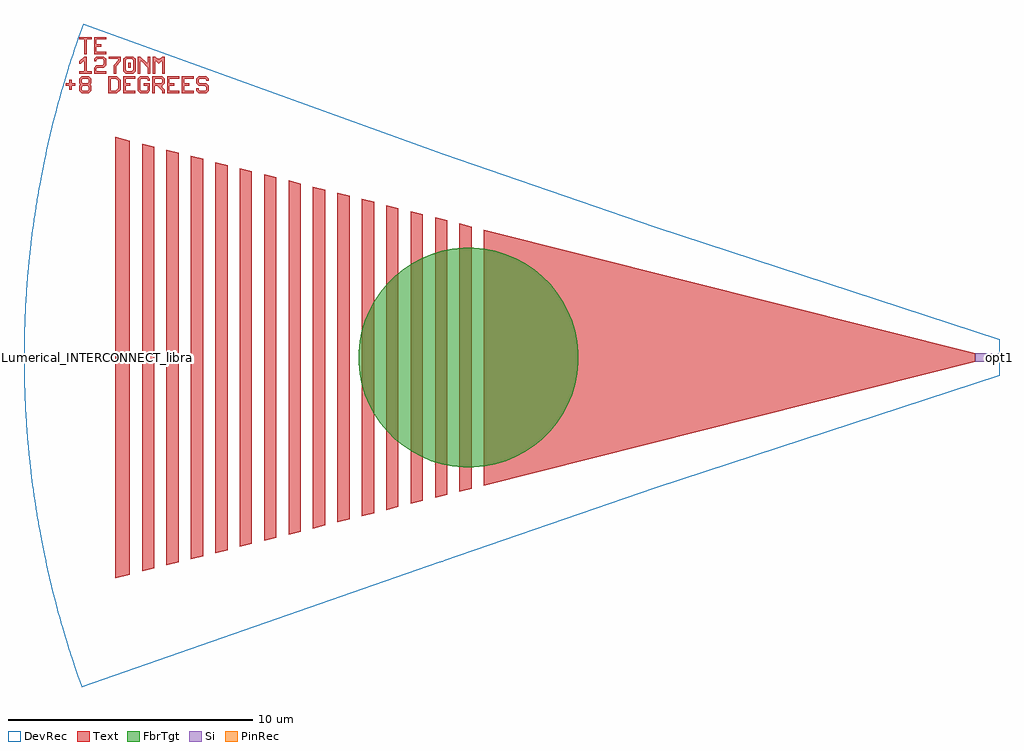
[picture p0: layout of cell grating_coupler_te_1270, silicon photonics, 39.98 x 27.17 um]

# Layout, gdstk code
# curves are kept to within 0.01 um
import gdstk
lib = gdstk.Library(unit=1e-6, precision=1e-09)
def R(c, l, rs):  # rectangles x0, y0, x1, y1
    for r in rs: c.add(gdstk.rectangle(r[:2], r[2:], *l))
def P(c, l, *ps):  # polygons
    for p in ps: c.add(gdstk.Polygon(p, *l))
Si = (1, 0)
PinRec = (1, 10)
Text = (10, 0)
DevRec = (68, 0)
FbrTgt = (81, 0)

grating_coupler_te_1270 = lib.new_cell('grating_coupler_te_1270')
R(grating_coupler_te_1270, Si, [(-1,-0.175,0,0.175)])
R(grating_coupler_te_1270, Text, [(-35.7,11.88,-35.6,12.08)])
P(grating_coupler_te_1270, Text, [(-37.5,12.43),(-37.5,13.03),(-37.7,13.03),(-37.7,13.13),(-37.2,13.13),(-37.2,13.03),(-37.4,13.03),(-37.4,12.43)],
  [(-37.1,12.43),(-37.1,13.13),(-36.6,13.13),(-36.6,13.03),(-37,13.03),(-37,12.83),(-36.8,12.83),(-36.8,12.73),(-37,12.73),(-37,12.53),(-36.6,12.53),(-36.6,12.43)],
  [(-37.7,11.63),(-37.7,11.73),(-37.5,11.73),(-37.5,12.13),(-37.55,12.13),(-37.65,12.03),(-37.7,12.03),(-37.7,12.13),(-37.5,12.33),(-37.4,12.33),(-37.4,11.73),(-37.2,11.73),(-37.2,11.63)],
  [(-37.1,11.63),(-37.1,11.88),(-37,11.98),(-36.75,11.98),(-36.7,12.03),(-36.7,12.18),(-36.75,12.23),(-36.95,12.23),(-37,12.18),(-37,12.13),(-37.1,12.13),(-37.1,12.23),(-37,12.33),(-36.7,12.33),(-36.6,12.23),(-36.6,11.98),(-36.7,11.88),(-36.95,11.88),(-37,11.83),(-37,11.73),(-36.6,11.73),(-36.6,11.63)],
  [(-36.3,11.63),(-36.3,11.98),(-36.1,12.18),(-36.1,12.23),(-36.5,12.23),(-36.5,12.33),(-36,12.33),(-36,12.13),(-36.2,11.93),(-36.2,11.63)],
  [(-35.8,11.63),(-35.9,11.73),(-35.9,12.23),(-35.8,12.33),(-35.5,12.33),(-35.4,12.23),(-35.75,12.23),(-35.8,12.18),(-35.8,11.78),(-35.75,11.73),(-35.55,11.73),(-35.5,11.78),(-35.5,12.18),(-35.55,12.23),(-35.4,12.23),(-35.4,11.73),(-35.5,11.63)],
  [(-35.3,11.63),(-35.3,12.33),(-35.2,12.33),(-34.95,12.08),(-34.9,12.08),(-34.9,12.33),(-34.8,12.33),(-34.8,11.63),(-34.9,11.63),(-34.9,11.88),(-35.15,12.13),(-35.2,12.13),(-35.2,11.63)],
  [(-34.7,11.63),(-34.7,12.33),(-34.6,12.33),(-34.5,12.23),(-34.4,12.23),(-34.3,12.33),(-34.2,12.33),(-34.2,11.63),(-34.3,11.63),(-34.3,12.13),(-34.35,12.13),(-34.45,12.03),(-34.55,12.13),(-34.6,12.13),(-34.6,11.63)],
  [(-38.11,10.98),(-38.11,11.13),(-38.26,11.13),(-38.26,11.23),(-38.11,11.23),(-38.11,11.38),(-38.01,11.38),(-38.01,11.23),(-37.86,11.23),(-37.86,11.13),(-38.01,11.13),(-38.01,10.98)],
  [(-37.61,10.83),(-37.71,10.93),(-37.71,11.13),(-37.66,11.18),(-37.71,11.23),(-37.71,11.43),(-37.61,11.53),(-37.31,11.53),(-37.21,11.43),(-37.56,11.43),(-37.61,11.38),(-37.61,11.28),(-37.56,11.23),(-37.36,11.23),(-37.31,11.28),(-37.31,11.38),(-37.36,11.43),(-37.21,11.43),(-37.21,11.23),(-37.26,11.18),(-37.21,11.13),(-37.56,11.13),(-37.61,11.08),(-37.61,10.98),(-37.56,10.93),(-37.36,10.93),(-37.31,10.98),(-37.31,11.08),(-37.36,11.13),(-37.21,11.13),(-37.21,10.93),(-37.31,10.83)],
  [(-36.51,10.83),(-36.51,11.53),(-36.16,11.53),(-36.06,11.43),(-36.41,11.43),(-36.41,10.93),(-36.21,10.93),(-36.11,11.03),(-36.11,11.33),(-36.21,11.43),(-36.06,11.43),(-36.01,11.38),(-36.01,10.98),(-36.16,10.83)],
  [(-35.91,10.83),(-35.91,11.53),(-35.41,11.53),(-35.41,11.43),(-35.81,11.43),(-35.81,11.23),(-35.61,11.23),(-35.61,11.13),(-35.81,11.13),(-35.81,10.93),(-35.41,10.93),(-35.41,10.83)],
  [(-35.21,10.83),(-35.31,10.93),(-35.31,11.43),(-35.21,11.53),(-34.91,11.53),(-34.81,11.43),(-34.81,11.33),(-34.91,11.33),(-34.91,11.38),(-34.96,11.43),(-35.16,11.43),(-35.21,11.38),(-35.21,10.98),(-35.16,10.93),(-34.96,10.93),(-34.91,10.98),(-34.91,11.13),(-35.06,11.13),(-35.06,11.23),(-34.81,11.23),(-34.81,10.93),(-34.91,10.83)],
  [(-34.71,10.83),(-34.71,11.53),(-34.31,11.53),(-34.21,11.43),(-34.61,11.43),(-34.61,11.23),(-34.36,11.23),(-34.31,11.28),(-34.31,11.38),(-34.36,11.43),(-34.21,11.43),(-34.21,11.23),(-34.31,11.13),(-34.31,11.08),(-34.21,10.98),(-34.21,10.83),(-34.31,10.83),(-34.31,10.93),(-34.51,11.13),(-34.61,11.13),(-34.61,10.83)],
  [(-34.11,10.83),(-34.11,11.53),(-33.61,11.53),(-33.61,11.43),(-34.01,11.43),(-34.01,11.23),(-33.81,11.23),(-33.81,11.13),(-34.01,11.13),(-34.01,10.93),(-33.61,10.93),(-33.61,10.83)],
  [(-33.51,10.83),(-33.51,11.53),(-33.01,11.53),(-33.01,11.43),(-33.41,11.43),(-33.41,11.23),(-33.21,11.23),(-33.21,11.13),(-33.41,11.13),(-33.41,10.93),(-33.01,10.93),(-33.01,10.83)],
  [(-32.81,10.83),(-32.91,10.93),(-32.91,11.03),(-32.81,11.03),(-32.81,10.98),(-32.76,10.93),(-32.56,10.93),(-32.51,10.98),(-32.51,11.08),(-32.56,11.13),(-32.81,11.13),(-32.91,11.23),(-32.91,11.43),(-32.81,11.53),(-32.51,11.53),(-32.41,11.43),(-32.41,11.33),(-32.51,11.33),(-32.51,11.38),(-32.56,11.43),(-32.76,11.43),(-32.81,11.38),(-32.81,11.28),(-32.76,11.23),(-32.51,11.23),(-32.41,11.13),(-32.41,10.93),(-32.51,10.83)],
  [(-21.132,-5.241),(-21.132,5.241),(-1,0.175),(-1,-0.175)],
  [(-22.132,-5.492),(-22.132,5.492),(-21.632,5.366),(-21.632,-5.366)],
  [(-23.132,-5.744),(-23.132,5.744),(-22.632,5.618),(-22.632,-5.618)],
  [(-24.132,-5.995),(-24.132,5.995),(-23.632,5.87),(-23.632,-5.87)],
  [(-25.132,-6.247),(-25.132,6.247),(-24.632,6.121),(-24.632,-6.121)],
  [(-26.132,-6.499),(-26.132,6.499),(-25.632,6.373),(-25.632,-6.373)],
  [(-27.132,-6.75),(-27.132,6.75),(-26.632,6.624),(-26.632,-6.624)],
  [(-28.132,-7.002),(-28.132,7.002),(-27.632,6.876),(-27.632,-6.876)],
  [(-29.132,-7.254),(-29.132,7.254),(-28.632,7.128),(-28.632,-7.128)],
  [(-30.132,-7.505),(-30.132,7.505),(-29.632,7.379),(-29.632,-7.379)],
  [(-31.132,-7.757),(-31.132,7.757),(-30.632,7.631),(-30.632,-7.631)],
  [(-32.132,-8.008),(-32.132,8.008),(-31.632,7.883),(-31.632,-7.883)],
  [(-33.132,-8.26),(-33.132,8.26),(-32.632,8.134),(-32.632,-8.134)],
  [(-34.132,-8.512),(-34.132,8.512),(-33.632,8.386),(-33.632,-8.386)],
  [(-35.132,-8.763),(-35.132,8.763),(-34.632,8.637),(-34.632,-8.637)],
  [(-36.24,-9.042),(-36.24,9.042),(-35.632,8.889),(-35.632,-8.889)])
P(grating_coupler_te_1270, DevRec, [(-37.607,-13.5),(-38.153,-11.879),(-38.627,-10.245),(-39.011,-8.679),(-39.378,-6.832),(-39.536,-5.858),(-39.647,-5.058),(-39.835,-3.274),(-39.935,-1.661),(-39.962,-0.763),(-39.969,0.224),(-39.923,1.929),(-39.812,3.541),(-39.712,4.523),(-39.599,5.414),(-39.331,7.097),(-39.011,8.679),(-38.805,9.551),(-38.557,10.505),(-38.045,12.22),(-37.546,13.669),(-22.8,8.353),(-14.109,5.36),(0,0.75),(0,-0.75),(-14.109,-5.36),(-22.796,-8.351)])
P(grating_coupler_te_1270, FbrTgt, [(-21.98,-4.5),(-22.42,-4.457),(-22.854,-4.37),(-23.277,-4.242),(-23.685,-4.073),(-24.075,-3.864),(-24.443,-3.619),(-24.785,-3.338),(-25.097,-3.026),(-25.378,-2.684),(-25.623,-2.316),(-25.832,-1.926),(-26.001,-1.518),(-26.129,-1.095),(-26.216,-0.661),(-26.259,-0.221),(-26.259,0.221),(-26.216,0.661),(-26.129,1.095),(-26.001,1.518),(-25.832,1.926),(-25.623,2.316),(-25.378,2.684),(-25.097,3.026),(-24.785,3.338),(-24.443,3.619),(-24.075,3.864),(-23.685,4.073),(-23.277,4.242),(-22.854,4.37),(-22.42,4.457),(-21.98,4.5),(-21.538,4.5),(-21.098,4.457),(-20.664,4.37),(-20.241,4.242),(-19.833,4.073),(-19.443,3.864),(-19.075,3.619),(-18.733,3.338),(-18.421,3.026),(-18.14,2.684),(-17.895,2.316),(-17.686,1.926),(-17.517,1.518),(-17.389,1.095),(-17.302,0.661),(-17.259,0.221),(-17.259,-0.221),(-17.302,-0.661),(-17.389,-1.095),(-17.517,-1.518),(-17.686,-1.926),(-17.895,-2.316),(-18.14,-2.684),(-18.421,-3.026),(-18.733,-3.338),(-19.075,-3.619),(-19.443,-3.864),(-19.833,-4.073),(-20.241,-4.242),(-20.664,-4.37),(-21.098,-4.457),(-21.538,-4.5)])
grating_coupler_te_1270.add(gdstk.FlexPath([(-0.01,0),(0.01,0)], 0.35, ends="flush", simple_path=True, layer=1, datatype=10))  # PinRec
grating_coupler_te_1270.add(gdstk.Label('Lumerical_INTERCONNECT_library=Design kits/SiEPICfab_Shuksan_PDK', (-39.96,0), layer=68, texttype=0))
grating_coupler_te_1270.add(gdstk.Label('Component=grating_coupler_te_1270', (-39.96,0.1), layer=68, texttype=0))
grating_coupler_te_1270.add(gdstk.Label('opt1', (0,0), layer=1, texttype=10))

lib.write_gds('grating_coupler_te_1270.gds')
